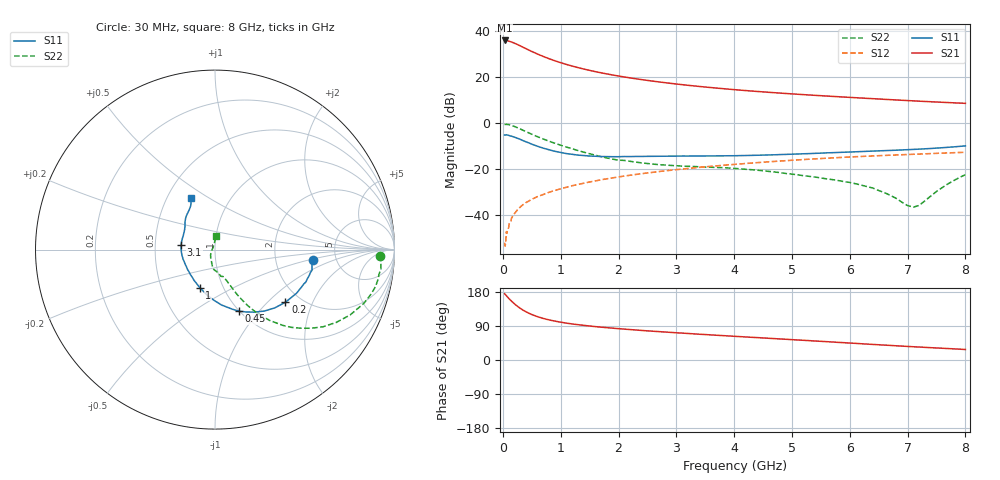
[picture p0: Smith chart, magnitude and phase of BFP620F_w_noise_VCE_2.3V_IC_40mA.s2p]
! Infineon Technologies  Discrete & RF Semiconductors
! BFP620F
! VCE =  2.3 V,  IC =  40 mA
! Common Emitter S-Parameters:  Dec 2014
# GHz  S  MA  R  50
!  f  S11  S21  S12  S22
! GHz  MAG  ANG  MAG  ANG  MAG  ANG  MAG  ANG
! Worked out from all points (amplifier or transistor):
!   95 points, 30 MHz to 8 GHz, reference 50 ohm
!   highest |S21| = 35.8 dB at 30 MHz (marker M1)
!   |S21| within 3 dB of that: start of sweep to 352.8 MHz
!   unconditionally stable (mu >= 1): 2.108 GHz to end of sweep
!   at 300 MHz: K = 0.48, MSG = 35.0 dB, |S12| = -36.5 dB
!   at 3.3 GHz: K = 1.03, MAG = 16.7 dB, |S12| = -19.6 dB
!   at 8 GHz: K = 1.06, MAG = 9.2 dB, |S12| = -12.8 dB
!   lowest NFmin = 1.36 dB at 450 MHz
!   S11 on the Smith chart (normalised r, x): 30 MHz: 3.32, -0.53; 200 MHz: 1.67, -1.29; 450 MHz: 0.99, -0.79; 1 GHz: 0.77, -0.35; 3.1 GHz: 0.68, +0.04; 8 GHz: 0.66, +0.42
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0.03  0.547 -5.9  61.81 174.8  0.0025 71.6  0.9216 -2.1
0.07  0.5467 -13.6  61.15 168.0  0.004 63.5  0.924 -8.5
0.11  0.5299 -21.3  59.34 161.2  0.0065 71.3  0.9109 -14.4
0.15  0.5144 -28.4  57.15 155.2  0.0086 73.9  0.8815 -19.9
0.2  0.4899 -36.8  53.88 148.2  0.0107 72.6  0.8364 -25.8
0.25  0.4651 -44.3  50.59 141.9  0.0128 71.8  0.7879 -31.0
0.3  0.4392 -51.2  47.24 136.4  0.0149 71.5  0.739 -35.6
0.35  0.4119 -57.8  43.93 131.5  0.0168 69.7  0.6905 -39.4
0.45  0.368 -68.8  38.22 123.4  0.0201 69.1  0.6061 -45.6
0.5  0.3452 -73.9  35.64 120.0  0.0219 68.8  0.5678 -48.1
0.6  0.3107 -83.3  31.27 114.3  0.0251 67.3  0.5008 -52.2
0.7  0.2824 -91.2  27.73 109.6  0.0279 68.2  0.4462 -55.3
0.8  0.2605 -98.7  24.77 105.8  0.0312 68.2  0.4 -57.7
1  0.2282 -112.1  20.32 99.8  0.0371 68.2  0.328 -61.2
1.4  0.1955 -134.5  14.8 91.4  0.049 67.4  0.2316 -66.1
1.9  0.1844 -156.4  10.98 84.0  0.064 66.2  0.1632 -72.1
2.7  0.1886 -179.7  7.769 74.9  0.0877 62.4  0.1239 -85.2
3.1  0.1906 171.7  6.776 71.0  0.0994 60.3  0.1154 -90.0
4.1  0.1948 154.2  5.159 61.7  0.1284 54.7  0.1008 -97.3
5.4  0.2181 140.1  3.97 50.1  0.1654 46.4  0.0666 -108.2
6.7  0.2525 127.6  3.203 38.5  0.1987 37.4  0.0267 -145.2
8  0.3167 115.1  2.66 27.7  0.2301 28.8  0.075 86.7
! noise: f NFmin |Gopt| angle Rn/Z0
0.45  1.36  0.16  -173  0.16
0.9  1.38  0.16  -172  0.13
1.5  1.39  0.21  -152  0.11
1.8  1.4  0.21  -151  0.11
1.9  1.41  0.21  -150  0.11
2.4  1.43  0.21  214  0.13
3.5  1.49  0.22  220  0.17
5.5  1.63  0.27  247  0.17
6  1.67  0.28  261  0.2
